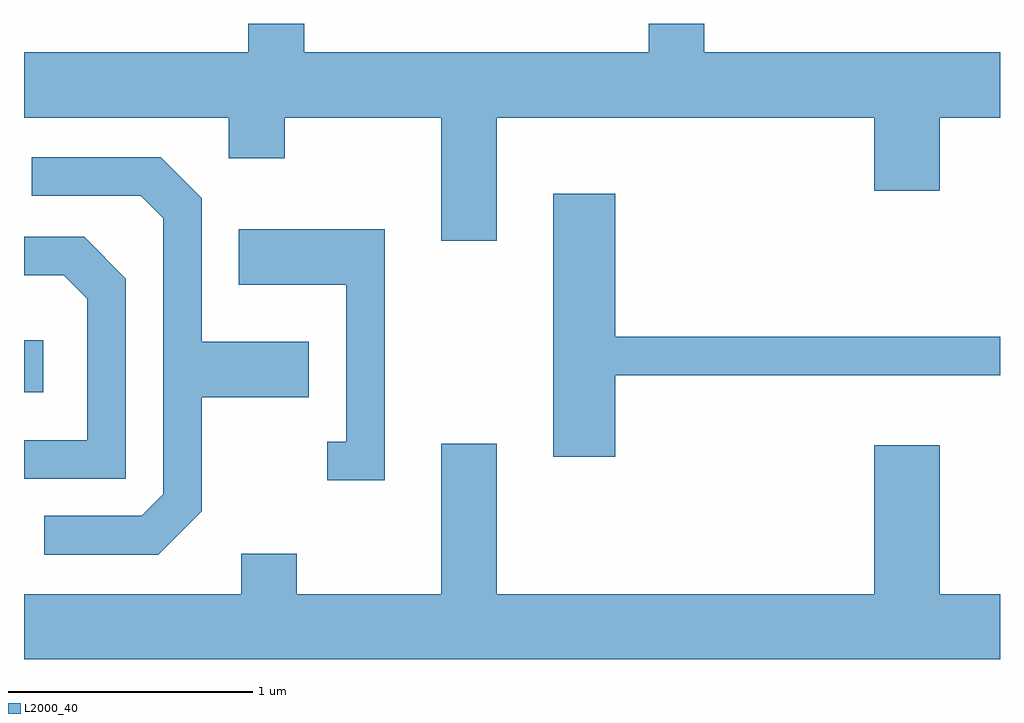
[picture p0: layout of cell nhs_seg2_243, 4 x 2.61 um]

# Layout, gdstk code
import gdstk
lib = gdstk.Library(unit=1e-6, precision=1e-09)
def R(c, l, rs):  # rectangles x0, y0, x1, y1
    for r in rs: c.add(gdstk.rectangle(r[:2], r[2:], *l))
def P(c, l, *ps):  # polygons
    for p in ps: c.add(gdstk.Polygon(p, *l))
L2000_40 = (2000, 40)

nhs_seg2_243 = lib.new_cell('nhs_seg2_243')
R(nhs_seg2_243, L2000_40, [(191.611,1058.291,191.689,1058.504)])
P(nhs_seg2_243, L2000_40, [(193.549,1059.416),(195.096,1059.416),(195.096,1059.116),(195.364,1059.116),(195.364,1059.416),(195.611,1059.416),(195.611,1059.684),(194.399,1059.684),(194.399,1059.802),(194.171,1059.802),(194.171,1059.684),(192.759,1059.684),(192.759,1059.802),(192.531,1059.802),(192.531,1059.684),(191.611,1059.684),(191.611,1059.416),(192.451,1059.416),(192.451,1059.251),(192.679,1059.251),(192.679,1059.416),(193.321,1059.416),(193.321,1058.911),(193.549,1058.911)],
  [(192.339,1057.804),(192.339,1058.271),(192.779,1058.271),(192.779,1058.499),(192.339,1058.499),(192.339,1059.087),(192.172,1059.254),(191.643,1059.254),(191.643,1059.096),(192.089,1059.096),(192.181,1059.004),(192.181,1057.872),(192.094,1057.784),(191.693,1057.784),(191.693,1057.626),(192.162,1057.626)],
  [(194.034,1058.361),(195.611,1058.361),(195.611,1058.519),(194.034,1058.519),(194.034,1059.104),(193.781,1059.104),(193.781,1058.026),(194.034,1058.026)],
  [(193.089,1058.959),(192.491,1058.959),(192.491,1058.731),(192.931,1058.731),(192.931,1058.089),(192.853,1058.089),(192.853,1057.931),(193.089,1057.931)],
  [(192.029,1058.757),(191.857,1058.929),(191.611,1058.929),(191.611,1058.771),(191.774,1058.771),(191.871,1058.674),(191.871,1058.094),(191.611,1058.094),(191.611,1057.936),(192.029,1057.936)],
  [(195.611,1057.464),(195.364,1057.464),(195.364,1058.074),(195.096,1058.074),(195.096,1057.464),(193.549,1057.464),(193.549,1058.079),(193.321,1058.079),(193.321,1057.464),(192.729,1057.464),(192.729,1057.629),(192.501,1057.629),(192.501,1057.464),(191.611,1057.464),(191.611,1057.196),(195.611,1057.196)])

lib.write_gds('nhs_seg2_243.gds')
